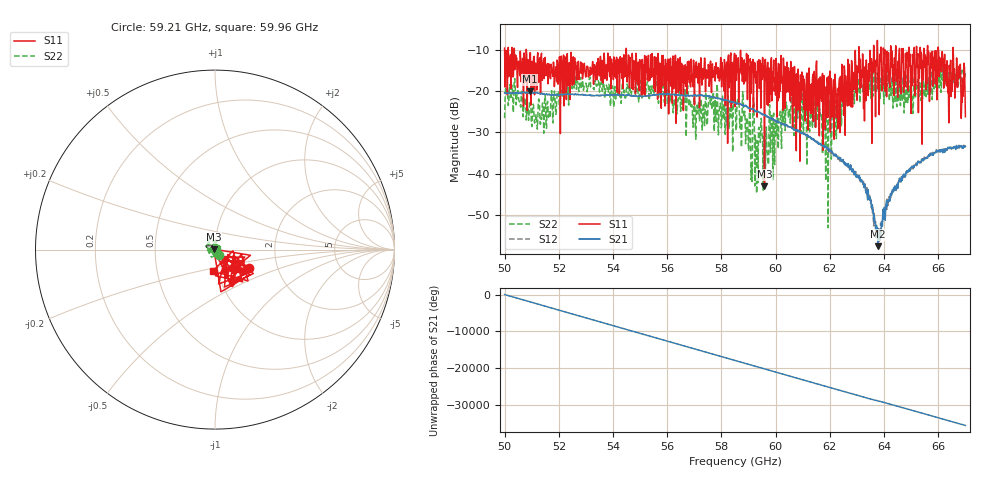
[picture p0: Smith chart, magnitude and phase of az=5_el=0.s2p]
!Created with skrf (http://scikit-rf.org).
# GHz S RI R 50.0
!freq ReS11 ImS11 ReS21 ImS21 ReS12 ImS12 ReS22 ImS22
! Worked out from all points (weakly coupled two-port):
!   1001 points, 50 GHz to 67 GHz, reference 50 ohm
!   highest |S21| = -20.12 dB at 50.94 GHz (marker M1); lowest = -57.4 dB at 63.77 GHz (marker M2)
!   lowest |S11| = -43.0 dB at 59.59 GHz (marker M3), VSWR 1.01, Z = 49.3 + j0.235 ohm
!   |S11| at or under -10 dB: 50.8 GHz to 54.49 GHz (3.687 GHz wide, 7 % of centre); 54.49 GHz to 63.07 GHz (8.582 GHz wide, 14.6 % of centre); 63.08 GHz to 63.61 GHz (537.1 MHz wide, 0.848 % of centre) (the widest 3 of 24)
!   |S22| runs from -53.0 to -13.9 dB; largest |S21 - S12| = 0.0026
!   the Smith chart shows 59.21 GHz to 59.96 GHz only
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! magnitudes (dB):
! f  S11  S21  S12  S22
! 50 GHz  -9.7  -20.5  -20.4  -26.5
! 50.42 GHz  -13.4  -20.6  -20.5  -23.4
! 50.94 GHz  -10.8  -20.1  -20.2  -23.5
! 52.84 GHz  -14.3  -20.9  -20.9  -19.5
! 55.68 GHz  -13.2  -20.9  -20.9  -23.0
! 56.99 GHz  -14.7  -21.1  -21.1  -21.9
! 57.62 GHz  -15.8  -21.4  -21.5  -21.8
! 58.5 GHz  -23.8  -22.7  -22.7  -23.9
! 58.86 GHz  -17.8  -23.6  -23.7  -24.9
! 59.3 GHz  -15.3  -25.0  -25.1  -44.7
! 59.59 GHz  -43.0  -25.9  -25.8  -31.1
! 60.64 GHz  -14.4  -29.1  -28.9  -22.2
! 61.34 GHz  -25.1  -31.4  -31.5  -26.0
! 62 GHz  -15.2  -34.2  -33.9  -24.5
! 62.53 GHz  -13.9  -37.2  -37.1  -18.9
! 63.16 GHz  -15.8  -41.8  -41.5  -17.5
! 63.77 GHz  -12.7  -57.4  -55.1  -16.7
! 64.18 GHz  -17.7  -46.5  -45.5  -18.4
! 66.08 GHz  -14.9  -34.2  -34.3  -15.7
! 66.42 GHz  -15.5  -33.9  -33.7  -16.1
! 66.75 GHz  -17.0  -33.7  -33.6  -18.5
! 67 GHz  -26.2  -33.4  -33.2  -15.7
